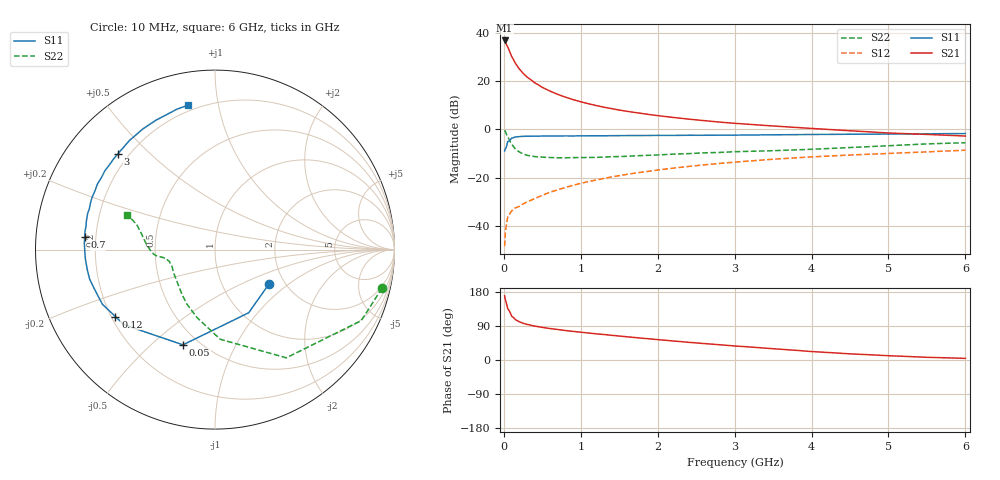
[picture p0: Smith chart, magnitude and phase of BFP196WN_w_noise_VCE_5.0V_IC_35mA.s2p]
! Infineon Technologies  Discrete & RF Semiconductors
! BFP196WN
! VCE =  5.0 V,  IC =  35 mA
! Common Emitter S-Parameters:  Jan 2017
# GHz  S  MA  R  50
!  f  S11  S21  S12  S22
! GHz  MAG  ANG  MAG  ANG  MAG  ANG  MAG  ANG
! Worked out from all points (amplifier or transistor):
!   77 points, 10 MHz to 6 GHz, reference 50 ohm
!   highest |S21| = 36.8 dB at 10 MHz (marker M1)
!   |S21| within 3 dB of that: start of sweep to 54.63 MHz
!   unconditionally stable (mu >= 1): 723.1 MHz to 2.709 GHz
!   at 130 MHz: K = 0.45, MSG = 30.8 dB, |S12| = -33.1 dB
!   at 2.2 GHz: K = 1.02, MAG = 9.6 dB, |S12| = -16.1 dB
!   at 6 GHz: K = 0.90, MSG = 2.9 dB, |S12| = -8.6 dB
!   lowest NFmin = 1.11 dB at 450 MHz
!   S11 on the Smith chart (normalised r, x): 10 MHz: 1.66, -0.73; 50 MHz: 0.41, -0.64; 120 MHz: 0.22, -0.29; 700 MHz: 0.16, +0.05; 3 GHz: 0.16, +0.40; 6 GHz: 0.17, +0.82
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0.01  0.3566 -32.5  69.48 169.7  0.0038 78.8  0.9548 -13.0
0.02  0.3988 -61.9  64.89 158.8  0.0073 78.7  0.9061 -25.9
0.05  0.5598 -108.6  51.09 135.5  0.0151 54.7  0.7223 -56.6
0.1  0.6572 -140.4  32.65 116.0  0.0202 46.7  0.5005 -86.6
0.12  0.6686 -146.1  28.85 113.0  0.0216 45.9  0.452 -92.8
0.15  0.6973 -154.1  23.37 106.6  0.0236 44.8  0.3921 -104.8
0.2  0.707 -162.0  17.94 100.9  0.0253 46.7  0.341 -117.4
0.25  0.7175 -166.8  14.54 96.9  0.0285 49.6  0.3111 -126.1
0.3  0.7201 -170.6  12.21 94.0  0.0311 51.9  0.2906 -133.1
0.4  0.7243 -176.0  9.25 89.4  0.0367 56.1  0.2732 -142.4
0.5  0.7258 -179.7  7.418 86.0  0.043 59.4  0.2655 -149.1
0.6  0.7289 177.2  6.203 83.0  0.0499 61.3  0.2612 -153.9
0.7  0.7293 174.6  5.313 80.5  0.0559 63.7  0.2579 -157.0
0.9  0.7305 169.8  4.13 75.5  0.0693 64.6  0.2598 -161.6
1.1  0.7357 165.9  3.394 71.2  0.083 65.5  0.2615 -164.8
1.5  0.7416 158.9  2.511 63.2  0.1097 65.1  0.2731 -168.8
2.1  0.7494 149.1  1.845 52.1  0.1503 62.4  0.3007 -172.0
3  0.7599 135.5  1.334 37.0  0.2092 56.2  0.3439 -176.0
3.1  0.7614 134.0  1.301 35.7  0.2153 55.4  0.3473 -176.7
4.1  0.7845 119.5  1.022 21.2  0.2737 47.2  0.393 173.2
5.1  0.8012 108.6  0.829 10.5  0.3217 39.8  0.4659 161.7
6  0.8186 100.6  0.727 4.3  0.3699 33.8  0.5286 158.5
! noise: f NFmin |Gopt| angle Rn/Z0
0.45  1.11  0.47  179  0.05
0.9  1.24  0.53  186  0.05
1.9  2.17  0.68  212  0.13
2.4  2.91  0.69  219  0.25
